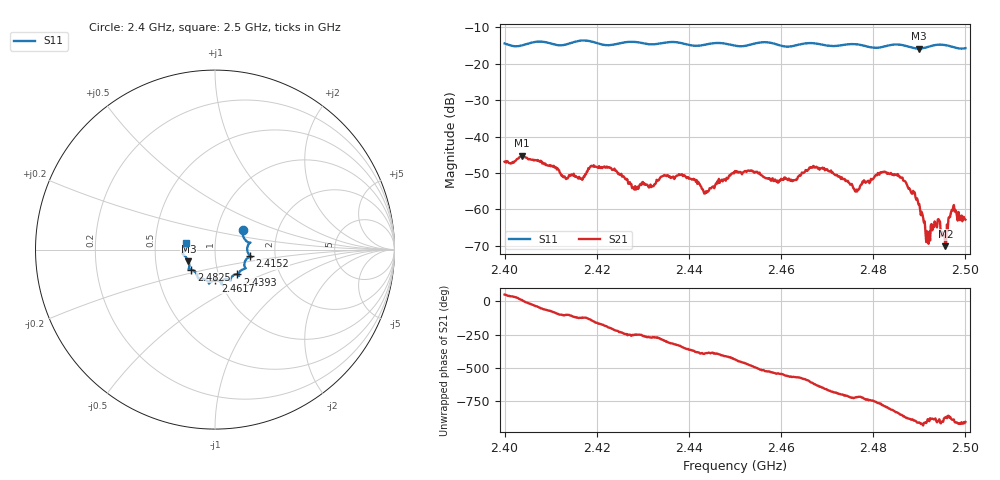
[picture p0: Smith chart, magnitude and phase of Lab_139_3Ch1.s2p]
# Hz S RI R 50
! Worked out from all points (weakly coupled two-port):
!   601 points, 2.4 GHz to 2.5 GHz, reference 50 ohm
!   highest |S21| = -45.30 dB at 2.4038 GHz (marker M1); lowest = -70.1 dB at 2.4957 GHz (marker M2)
!   lowest |S11| = -15.9 dB at 2.4898 GHz (marker M3), VSWR 1.38, Z = 36.9 - j4.88 ohm
!   |S11| at or under -10 dB: start of sweep to end of sweep
!   S12 and S22 are empty: the file has one direction only
!   S11 on the Smith chart (normalised r, x): 2.4 GHz: 1.33, +0.30; 2.4152 GHz: 1.48, -0.11; 2.4393 GHz: 1.23, -0.35; 2.4617 GHz: 0.94, -0.33; 2.4825 GHz: 0.75, -0.17; 2.5 GHz: 0.72, +0.05
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2.4e9  0.155 0.1091  0.00284 0.0035  0 0  0 0
2.403833e9  0.1717 0.0507  0.00536 0.000867  0 0  0 0
2.415167e9  0.196 -0.0363  -0.00132 -0.00254  0 0  0 0
2.416667e9  0.2039 -0.0417  -0.00152 -0.00218  0 0  0 0
2.419167e9  0.1955 -0.0404  -0.0033 -0.00206  0 0  0 0
2.428167e9  0.1698 -0.1046  -0.000635 0.00176  0 0  0 0
2.433333e9  0.1328 -0.1333  0.000234 0.00247  0 0  0 0
2.439333e9  0.1237 -0.1382  0.00277 0.000245  0 0  0 0
2.443667e9  0.0875 -0.1613  0.00154 -0.000865  0 0  0 0
2.45e9  0.0665 -0.1643  0.000798 -0.00327  0 0  0 0
2.461667e9  0.00114 -0.1718  -0.00243 0.00105  0 0  0 0
2.466667e9  -0.0336 -0.1889  -0.00127 0.00354  0 0  0 0
2.476333e9  -0.0941 -0.1592  0.00187 -4.23e-05  0 0  0 0
2.4825e9  -0.1326 -0.1113  0.00121 -0.00306  0 0  0 0
2.483333e9  -0.1399 -0.1105  0.000323 -0.00307  0 0  0 0
2.4865e9  -0.1458 -0.1046  -0.00198 -0.00151  0 0  0 0
2.489833e9  -0.1477 -0.0645  -0.00114 0.000228  0 0  0 0
2.491833e9  -0.1654 -0.038  -0.000465 -0.000126  0 0  0 0
2.493833e9  -0.1803 -0.0242  -0.000559 7.87e-05  0 0  0 0
2.495667e9  -0.1789 -0.0187  -0.000278 -0.000142  0 0  0 0
2.497333e9  -0.1693 -0.00635  -0.00103 -0.00022  0 0  0 0
2.5e9  -0.1596 0.0354  -0.000717 6.86e-05  0 0  0 0
